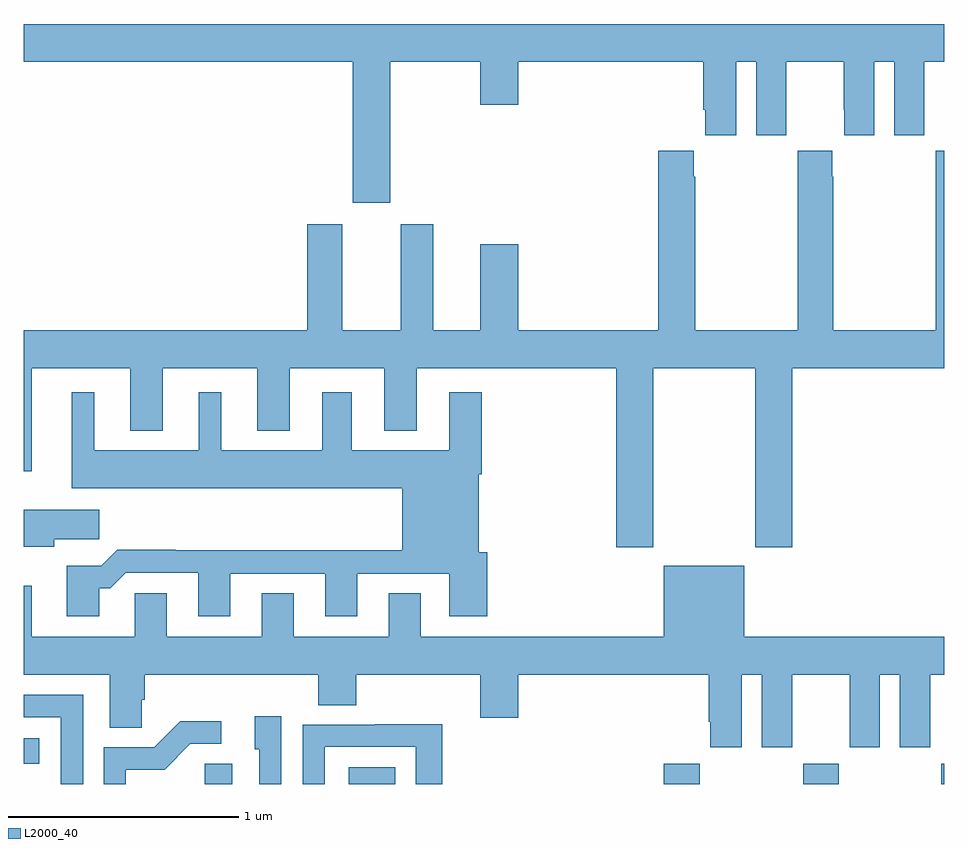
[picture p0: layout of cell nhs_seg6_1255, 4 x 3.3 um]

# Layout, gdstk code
import gdstk
lib = gdstk.Library(unit=1e-6, precision=1e-09)
def R(c, l, rs):  # rectangles x0, y0, x1, y1
    for r in rs: c.add(gdstk.rectangle(r[:2], r[2:], *l))
def P(c, l, *ps):  # polygons
    for p in ps: c.add(gdstk.Polygon(p, *l))
L2000_40 = (2000, 40)

nhs_seg6_1255 = lib.new_cell('nhs_seg6_1255')
R(nhs_seg6_1255, L2000_40, [(187.785,973.5,187.906,973.589), (188.411,973.5,188.614,973.573), (189.782,973.5,189.937,973.588), (190.387,973.5,190.542,973.588), (190.987,973.5,191,973.588), (187,973.589,187.066,973.699)])
P(nhs_seg6_1255, L2000_40, [(188.593,976.64),(188.984,976.64),(188.984,976.452),(189.148,976.452),(189.148,976.64),(189.953,976.64),(189.953,976.432),(189.962,976.432),(189.962,976.32),(190.096,976.32),(190.096,976.64),(190.184,976.64),(190.184,976.32),(190.314,976.32),(190.314,976.432),(190.315,976.432),(190.315,976.64),(190.565,976.64),(190.565,976.432),(190.566,976.432),(190.566,976.32),(190.696,976.32),(190.696,976.64),(190.784,976.64),(190.784,976.32),(190.914,976.32),(190.914,976.432),(190.915,976.432),(190.915,976.64),(191,976.64),(191,976.804),(187,976.804),(187,976.64),(188.429,976.64),(188.429,976.026),(188.593,976.026)],
  [(189.735,975.308),(190.18,975.308),(190.18,974.529),(190.34,974.529),(190.34,975.308),(191,975.308),(191,976.252),(190.965,976.252),(190.965,976.139),(190.963,976.139),(190.963,975.472),(190.518,975.472),(190.518,976.139),(190.515,976.139),(190.515,976.252),(190.365,976.252),(190.365,976.139),(190.363,976.139),(190.363,975.472),(189.918,975.472),(189.918,976.139),(189.911,976.139),(189.911,976.252),(189.758,976.252),(189.758,975.472),(189.148,975.472),(189.148,975.847),(188.984,975.847),(188.984,975.472),(188.779,975.472),(188.779,975.934),(188.639,975.934),(188.639,975.472),(188.383,975.472),(188.383,975.934),(188.231,975.934),(188.231,975.472),(187,975.472),(187,974.859),(187.033,974.859),(187.033,975.308),(187.463,975.308),(187.463,975.035),(187.603,975.035),(187.603,975.308),(188.015,975.308),(188.015,975.035),(188.155,975.035),(188.155,975.308),(188.567,975.308),(188.567,975.035),(188.707,975.035),(188.707,975.308),(189.575,975.308),(189.575,974.529),(189.735,974.529)],
  [(187.327,974.351),(187.376,974.351),(187.443,974.418),(187.757,974.418),(187.757,974.229),(187.897,974.229),(187.897,974.415),(188.309,974.415),(188.309,974.229),(188.449,974.229),(188.449,974.415),(188.849,974.415),(188.849,974.229),(189.014,974.229),(189.014,974.508),(188.977,974.508),(188.977,974.846),(188.99,974.846),(188.99,975.202),(188.849,975.202),(188.849,974.95),(188.425,974.95),(188.425,975.202),(188.297,975.202),(188.297,974.95),(187.858,974.95),(187.858,975.202),(187.76,975.202),(187.76,974.95),(187.306,974.95),(187.306,975.202),(187.208,975.202),(187.208,974.786),(188.645,974.786),(188.645,974.516),(187.661,974.516),(187.661,974.519),(187.406,974.519),(187.336,974.449),(187.187,974.449),(187.187,974.229),(187.327,974.229)],
  [(187.132,974.563),(187.327,974.563),(187.327,974.692),(187,974.692),(187,974.531),(187.132,974.531)],
  [(187.482,974.33),(187.482,974.14),(187.033,974.14),(187.033,974.362),(187,974.362),(187,973.976),(187.373,973.976),(187.373,973.744),(187.512,973.744),(187.512,973.867),(187.526,973.867),(187.526,973.976),(188.279,973.976),(188.279,973.843),(188.444,973.843),(188.444,973.976),(188.984,973.976),(188.984,973.788),(189.148,973.788),(189.148,973.976),(189.977,973.976),(189.977,973.771),(189.983,973.771),(189.983,973.659),(190.12,973.659),(190.12,973.976),(190.208,973.976),(190.208,973.659),(190.339,973.659),(190.339,973.976),(190.589,973.976),(190.589,973.659),(190.72,973.659),(190.72,973.976),(190.808,973.976),(190.808,973.659),(190.939,973.659),(190.939,973.976),(191,973.976),(191,974.14),(190.132,974.14),(190.132,974.449),(189.782,974.449),(189.782,974.14),(188.725,974.14),(188.725,974.33),(188.585,974.33),(188.585,974.14),(188.173,974.14),(188.173,974.33),(188.033,974.33),(188.033,974.14),(187.621,974.14),(187.621,974.33)],
  [(187.257,973.887),(187,973.887),(187,973.791),(187.161,973.791),(187.161,973.5),(187.257,973.5)],
  [(188.118,973.795),(188.003,973.795),(188.003,973.65),(188.022,973.65),(188.022,973.5),(188.118,973.5)],
  [(187.443,973.563),(187.612,973.563),(187.723,973.674),(187.858,973.674),(187.858,973.772),(187.679,973.772),(187.566,973.659),(187.347,973.659),(187.347,973.5),(187.443,973.5)],
  [(188.307,973.662),(188.703,973.662),(188.703,973.5),(188.819,973.5),(188.819,973.76),(188.527,973.76),(188.527,973.758),(188.211,973.758),(188.211,973.5),(188.307,973.5)])

lib.write_gds('nhs_seg6_1255.gds')
